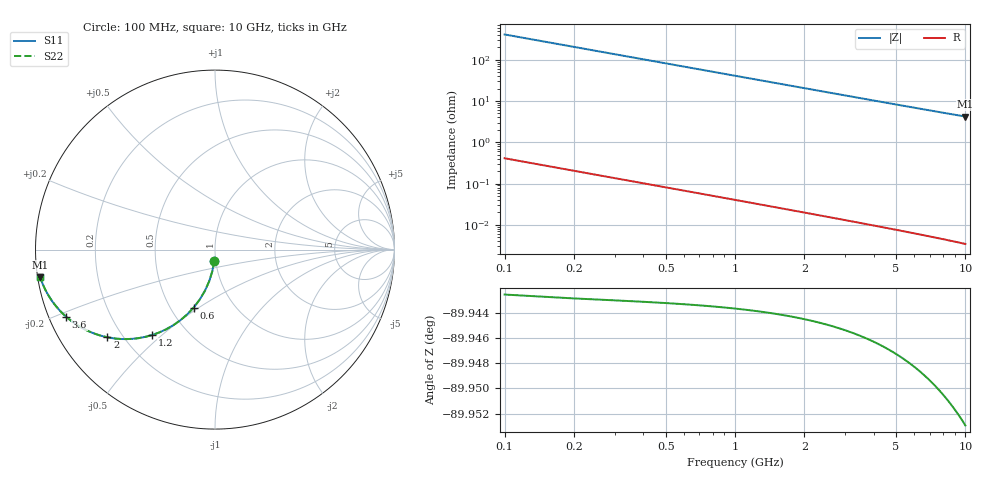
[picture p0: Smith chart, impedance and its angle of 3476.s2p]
# Hz S RI R 50.00
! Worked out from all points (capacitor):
!   100 points, 100 MHz to 10 GHz, reference 50 ohm
!   read as one part in shunt: C = 3.9 pF near 100 MHz
!   lowest |Z| = 4.19 ohm at 10 GHz (marker M1)
!   S11 on the Smith chart (normalised r, x): 100 MHz: 0.99, -0.12; 600 MHz: 0.65, -0.48; 1.2 GHz: 0.32, -0.46; 2 GHz: 0.14, -0.35; 3.6 GHz: 0.05, -0.21; 10 GHz: 0.01, -0.08
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1e8  -0.00377 -0.061  0.9962 -0.0611  0.9962 -0.0611  -0.00377 -0.061
2e8  -0.0149 -0.1206  0.9851 -0.1208  0.9851 -0.1208  -0.0149 -0.1206
3e8  -0.0328 -0.1776  0.9671 -0.1778  0.9671 -0.1778  -0.0328 -0.1776
4e8  -0.0568 -0.2308  0.9431 -0.2312  0.9431 -0.2312  -0.0568 -0.2308
5e8  -0.086 -0.2796  0.914 -0.2801  0.914 -0.2801  -0.086 -0.2796
6e8  -0.1192 -0.3233  0.8807 -0.3239  0.8807 -0.3239  -0.1192 -0.3233
7e8  -0.1555 -0.3616  0.8444 -0.3623  0.8444 -0.3623  -0.1555 -0.3616
9e8  -0.2332 -0.422  0.7667 -0.4229  0.7667 -0.4229  -0.2332 -0.422
1.2e9  -0.3508 -0.4761  0.6491 -0.4773  0.6491 -0.4773  -0.3508 -0.4761
1.5e9  -0.4577 -0.497  0.5422 -0.4984  0.5422 -0.4984  -0.4577 -0.497
1.8e9  -0.5485 -0.4963  0.4514 -0.498  0.4514 -0.498  -0.5485 -0.4963
2e9  -0.5999 -0.4884  0.4 -0.4904  0.4 -0.4904  -0.5999 -0.4884
2.3e9  -0.6647 -0.4705  0.3353 -0.4727  0.3353 -0.4727  -0.6647 -0.4705
2.6e9  -0.7169 -0.4487  0.283 -0.4513  0.283 -0.4513  -0.7169 -0.4487
3e9  -0.7712 -0.4181  0.2288 -0.421  0.2288 -0.421  -0.7712 -0.4181
3.4e9  -0.8123 -0.3883  0.1877 -0.3916  0.1877 -0.3916  -0.8123 -0.3883
3.6e9  -0.8291 -0.3741  0.1709 -0.3777  0.1709 -0.3777  -0.8291 -0.3741
4.3e9  -0.8737 -0.3295  0.1262 -0.3338  0.1262 -0.3338  -0.8737 -0.3295
5.1e9  -0.9068 -0.2876  0.0931 -0.2927  0.0931 -0.2927  -0.9068 -0.2876
6.7e9  -0.9438 -0.2264  0.0561 -0.2331  0.0561 -0.2331  -0.9438 -0.2264
8.4e9  -0.9635 -0.1826  0.0364 -0.191  0.0364 -0.191  -0.9635 -0.1826
1e10  -0.974 -0.1533  0.0258 -0.1634  0.0258 -0.1634  -0.974 -0.1533
